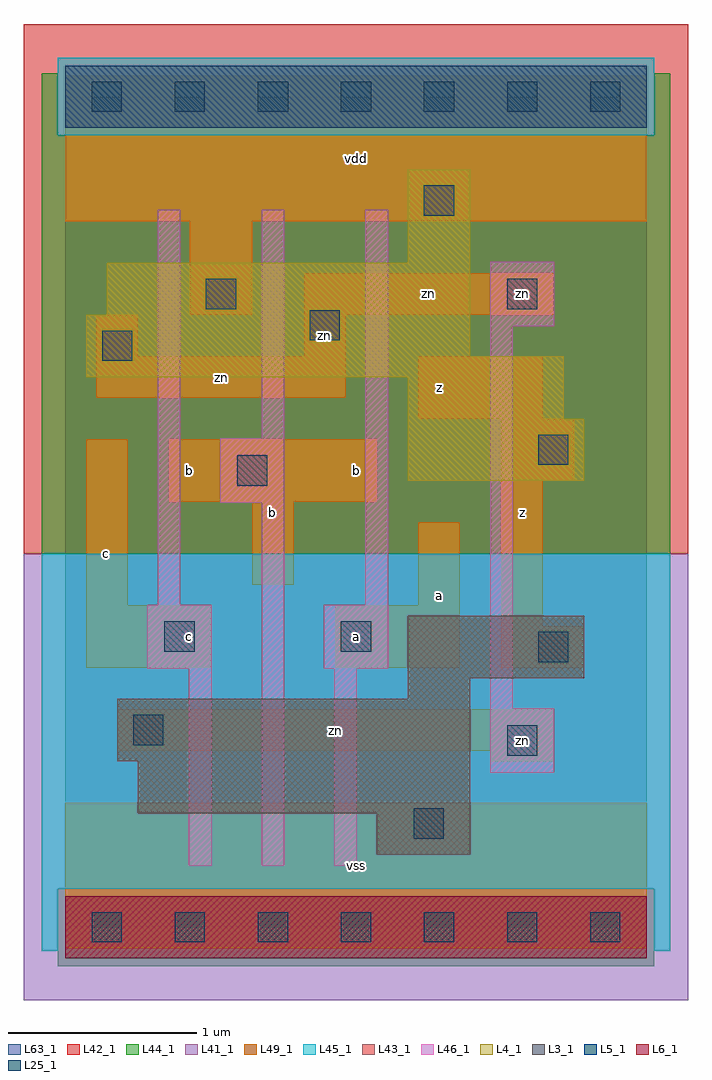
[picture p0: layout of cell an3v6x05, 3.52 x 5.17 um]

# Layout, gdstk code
import gdstk
lib = gdstk.Library(unit=1e-6, precision=1e-09)
def R(c, l, rs):  # rectangles x0, y0, x1, y1
    for r in rs: c.add(gdstk.rectangle(r[:2], r[2:], *l))
def A(c, l, x, y, w, h, nx, ny, dx, dy):  # array of equal rectangles
    R(c, l, [(x+i*dx, y+j*dy, x+i*dx+w, y+j*dy+h) for i in range(nx) for j in range(ny)])
L3_1 = (3, 1)
L4_1 = (4, 1)
L5_1 = (5, 1)
L6_1 = (6, 1)
L25_1 = (25, 1)
L41_1 = (41, 1)
L42_1 = (42, 1)
L43_1 = (43, 1)
L44_1 = (44, 1)
L45_1 = (45, 1)
L46_1 = (46, 1)
L49_1 = (49, 1)
L63_1 = (63, 1)

an3v6x05 = lib.new_cell('an3v6x05')
R(an3v6x05, L3_1, [(1.65,0.385,2.145,0.605), (0.385,0.605,2.145,0.88), (0.275,0.88,2.145,1.21), (1.815,1.21,2.145,1.32), (1.815,1.32,2.75,1.65)])
R(an3v6x05, L4_1, [(1.815,2.365,2.75,2.695), (1.815,2.695,2.64,2.915), (0.11,2.915,2.64,3.025), (0.11,3.025,2.145,3.245), (0.22,3.245,2.145,3.52), (1.815,3.52,2.145,4.015)])
R(an3v6x05, L5_1, [(0,4.235,3.08,4.565)])
R(an3v6x05, L6_1, [(0,-0.165,3.08,0.165)])
A(an3v6x05, L25_1, 0.14, -0.08, 0.16, 0.16, 7, 2, 0.44, 4.4)
R(an3v6x05, L25_1, [(1.845,0.47,2.005,0.63), (2.34,0.91,2.5,1.07), (0.36,0.965,0.52,1.125), (2.505,1.405,2.665,1.565), (0.525,1.46,0.685,1.62), (1.46,1.46,1.62,1.62), (0.91,2.34,1.07,2.5), (2.505,2.45,2.665,2.61), (0.195,3,0.355,3.16), (1.295,3.11,1.455,3.27), (0.745,3.275,0.905,3.435), (2.34,3.275,2.5,3.435), (1.9,3.77,2.06,3.93)])
R(an3v6x05, L41_1, [(-0.22,-0.385,3.3,1.98)])
R(an3v6x05, L42_1, [(-0.22,1.98,3.3,4.785)])
R(an3v6x05, L43_1, [(0,-0.165,3.08,0.165), (1.65,0.385,2.145,0.605), (0.385,0.605,2.145,0.88), (0.275,0.88,2.145,1.21), (1.815,1.21,2.145,1.32), (1.815,1.32,2.75,1.65), (1.815,2.365,2.75,2.695), (1.815,2.695,2.64,2.915), (0.11,2.915,2.64,3.025), (0.11,3.025,2.145,3.245), (0.22,3.245,2.145,3.52), (1.815,3.52,2.145,4.015), (0,4.235,3.08,4.565)])
R(an3v6x05, L44_1, [(-0.04,-0.205,3.12,0.205), (-0.125,1.98,3.205,4.195), (-0.125,4.195,-0.04,4.525), (3.12,4.195,3.205,4.525)])
R(an3v6x05, L45_1, [(-0.125,-0.125,-0.04,0.205), (3.12,-0.125,3.205,0.205), (-0.125,0.205,3.205,1.98), (-0.04,4.195,3.12,4.605)])
R(an3v6x05, L46_1, [(0.655,0.325,0.775,1.37), (1.04,0.325,1.16,2.25), (1.425,0.325,1.545,1.37), (2.25,0.82,2.59,1.16), (2.25,1.16,2.37,3.185), (0.435,1.37,0.775,1.71), (1.37,1.37,1.71,1.71), (0.49,1.71,0.61,3.8), (1.59,1.71,1.71,3.8), (0.82,2.25,1.16,2.59), (1.04,2.59,1.16,3.8), (2.25,3.185,2.59,3.525)])
R(an3v6x05, L49_1, [(0,-0.11,3.08,0.66), (2.255,0.88,2.585,0.935), (0.275,0.935,2.585,1.155), (0.11,1.375,0.77,1.705), (1.43,1.375,2.09,1.705), (2.31,1.375,2.75,1.595), (2.31,1.595,2.53,2.365), (0.11,1.705,0.33,2.585), (1.87,1.705,2.09,2.145), (0.99,1.815,1.21,2.255), (0.55,2.255,1.65,2.585), (2.31,2.365,2.695,2.695), (1.87,2.695,2.53,3.025), (0.165,2.805,1.485,3.025), (0.165,3.025,0.385,3.245), (1.265,3.025,1.485,3.245), (0.66,3.245,0.99,3.74), (1.265,3.245,2.585,3.465), (0,3.74,3.08,4.51)])
R(an3v6x05, L63_1, [(0,0,3.08,4.4)])
an3v6x05.add(gdstk.Label('zn', (2.42,0.99), layer=49, texttype=1))
an3v6x05.add(gdstk.Label('zn', (2.42,3.355), layer=49, texttype=1))
an3v6x05.add(gdstk.Label('c', (0.22,1.98), layer=49, texttype=1))
an3v6x05.add(gdstk.Label('c', (0.66,1.54), layer=49, texttype=1))
an3v6x05.add(gdstk.Label('b', (1.1,2.2), layer=49, texttype=1))
an3v6x05.add(gdstk.Label('b', (0.66,2.42), layer=49, texttype=1))
an3v6x05.add(gdstk.Label('zn', (0.825,2.915), layer=49, texttype=1))
an3v6x05.add(gdstk.Label('zn', (1.375,3.135), layer=49, texttype=1))
an3v6x05.add(gdstk.Label('vss', (1.54,0.33), layer=49, texttype=1))
an3v6x05.add(gdstk.Label('a', (1.54,1.54), layer=49, texttype=1))
an3v6x05.add(gdstk.Label('a', (1.98,1.76), layer=49, texttype=1))
an3v6x05.add(gdstk.Label('b', (1.54,2.42), layer=49, texttype=1))
an3v6x05.add(gdstk.Label('z', (1.98,2.86), layer=49, texttype=1))
an3v6x05.add(gdstk.Label('vdd', (1.54,4.07), layer=49, texttype=1))
an3v6x05.add(gdstk.Label('zn', (1.43,1.045), layer=49, texttype=1))
an3v6x05.add(gdstk.Label('z', (2.42,2.2), layer=49, texttype=1))
an3v6x05.add(gdstk.Label('zn', (1.925,3.355), layer=49, texttype=1))

lib.write_gds('an3v6x05.gds')
